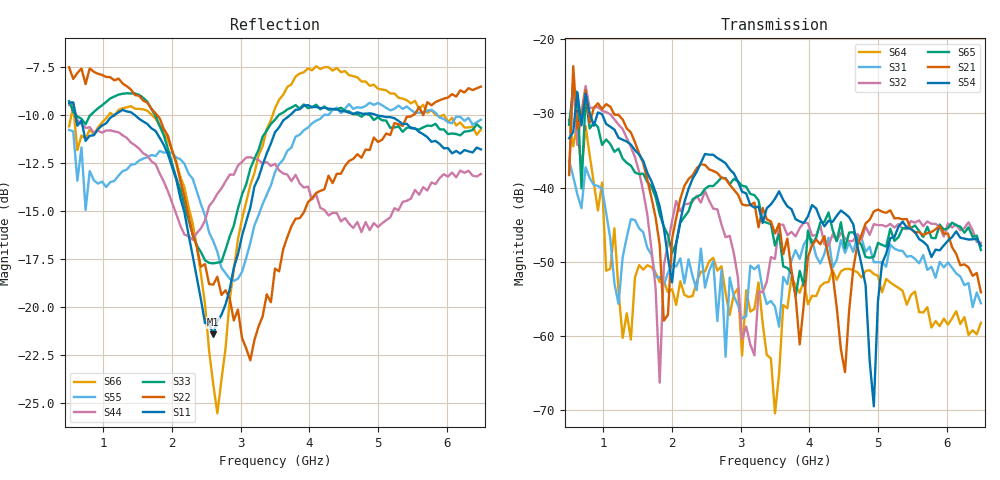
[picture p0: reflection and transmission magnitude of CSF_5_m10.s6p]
!Keysight Technologies,M9804A,MY58100912,A.14.10.03
!Date: Thursday, April 27, 2023 10:28:33
!Correction: S11(C  6-Port  )
!S12(C  6-Port  )
!S13(C  6-Port  )
!S14(C  6-Port  )
!S15(C  6-Port  )
!S16(C  6-Port  )
!S21(C  6-Port  )
!S22(C  6-Port  )
!S23(C  6-Port  )
!S24(C  6-Port  )
!S25(C  6-Port  )
!S26(C  6-Port  )
!S31(C  6-Port  )
!S32(C  6-Port  )
!S33(C  6-Port  )
!S34(C  6-Port  )
!S35(C  6-Port  )
!S36(C  6-Port  )
!S41(C  6-Port  )
!S42(C  6-Port  )
!S43(C  6-Port  )
!S44(C  6-Port  )
!S45(C  6-Port  )
!S46(C  6-Port  )
!S51(C  6-Port  )
!S52(C  6-Port  )
!S53(C  6-Port  )
!S54(C  6-Port  )
!S55(C  6-Port  )
!S56(C  6-Port  )
!S61(C  6-Port  )
!S62(C  6-Port  )
!S63(C  6-Port  )
!S64(C  6-Port  )
!S65(C  6-Port  )
!S66(C  6-Port  )
!S6P File: Measurement: :
# Hz S  RI  R 50
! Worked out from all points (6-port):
!   101 points, 500 MHz to 6.5 GHz, reference 50 ohm
!   strongest paths, dB at 500 MHz, 2 GHz, 3.5 GHz, 5 GHz, 6.5 GHz:
!     S54: -33.3, -52.8, -41.5, -55.3, -47.8
!     S21: -38.3, -46.9, -46.2, -43.0, -54.1
!     S65: -31.5, -48.8, -47.8, -47.5, -48.4
!     S32: -37.9, -44.5, -49.6, -45.1, -47.4
!     S31: -36.4, -50.4, -56.1, -50.1, -55.6
!     S64: -30.9, -53.7, -70.4, -51.9, -58.2
!   lowest |S11| = -21.4 dB at 2.6 GHz (marker M1), VSWR 1.19, Z = 42.5 + j2.27 ohm
!   |S11| at or under -10 dB: 593.4 MHz to 1.151 GHz (557.8 MHz wide, 63.9 % of centre); 1.463 GHz to 3.715 GHz (2.252 GHz wide, 87 % of centre); 4.987 GHz to end of sweep
